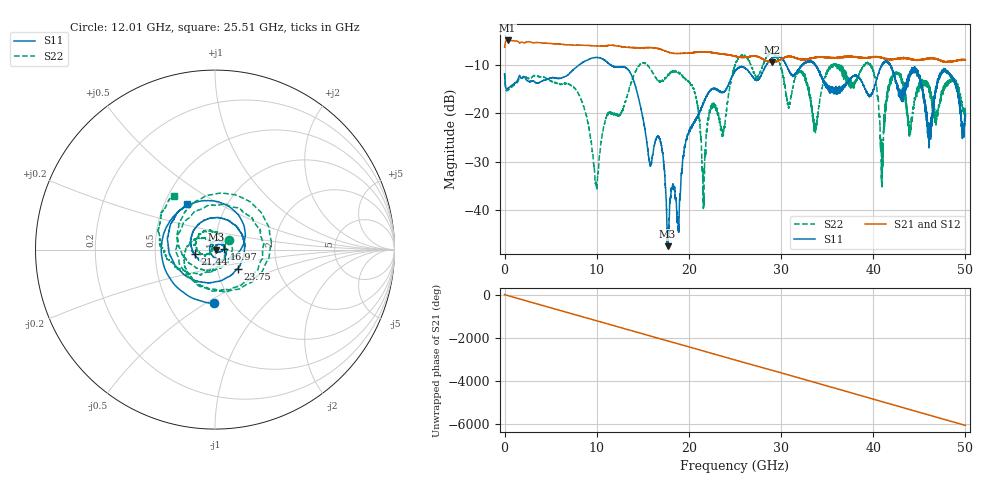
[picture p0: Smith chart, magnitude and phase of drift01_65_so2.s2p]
!Created with skrf (http://scikit-rf.org).
# Hz S RI R 50.0
!freq ReS11 ImS11 ReS21 ImS21 ReS12 ImS12 ReS22 ImS22
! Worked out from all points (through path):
!   10001 points, 300 kHz to 50 GHz, reference 50 ohm
!   highest |S21| = -5.05 dB at 315.3 MHz (marker M1); lowest = -9.6 dB at 28.98 GHz (marker M2)
!   group delay of S21, straight-line fit = 336 ps
!   lowest |S11| = -47.4 dB at 17.69 GHz (marker M3), VSWR 1.01, Z = 50.4 - j0.0813 ohm
!   |S11| at or under -10 dB: start of sweep to 8.15 GHz; 11.42 GHz to 28.42 GHz (16.99 GHz wide, 85.3 % of centre); 41.82 GHz to end of sweep (the widest 3 of 12)
!   |S22| runs from -39.6 to -7.6 dB; largest |S21 - S12| = 0.013
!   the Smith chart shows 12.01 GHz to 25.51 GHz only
!   S11 on the Smith chart (normalised r, x): 12.01 GHz: 0.83, -0.54; 16.97 GHz: 1.10, +0.01; 21.44 GHz: 0.79, -0.04; 23.75 GHz: 1.26, -0.27; 25.51 GHz: 0.65, +0.37
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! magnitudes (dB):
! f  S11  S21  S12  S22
! 300 kHz  -11.9  -6.5  -6.5  -11.8
! 315.3 MHz  -15.0  -5.1  -5.1  -15.4
! 8.335 GHz  -9.7  -6.0  -6.0  -17.4
! 9.95 GHz  -8.5  -6.2  -6.2  -35.1
! 12.01 GHz  -10.5  -6.1  -6.2  -20.4
! 16.67 GHz  -24.8  -6.7  -6.7  -13.4
! 16.97 GHz  -26.2  -6.9  -6.9  -13.4
! 17.69 GHz  -47.4  -7.4  -7.4  -12.3
! 20.47 GHz  -22.3  -7.5  -7.5  -14.9
! 21.44 GHz  -18.6  -7.4  -7.4  -30.8
! 22.47 GHz  -15.1  -7.5  -7.5  -19.1
! 23.75 GHz  -15.7  -7.9  -7.8  -24.5
! 25 GHz  -11.4  -8.3  -8.3  -10.2
! 25.51 GHz  -10.5  -8.5  -8.5  -8.4
! 28.98 GHz  -8.7  -9.6  -9.6  -7.7
! 33.34 GHz  -9.5  -8.7  -8.7  -19.3
! 39.48 GHz  -16.2  -8.6  -8.6  -9.8
! 40.97 GHz  -10.1  -8.6  -8.6  -28.5
! 41.67 GHz  -9.5  -8.8  -8.9  -14.2
! 46.1 GHz  -23.8  -8.7  -8.7  -14.6
! 48.04 GHz  -11.8  -9.4  -9.3  -13.6
! 50 GHz  -21.0  -9.1  -9.1  -20.4
